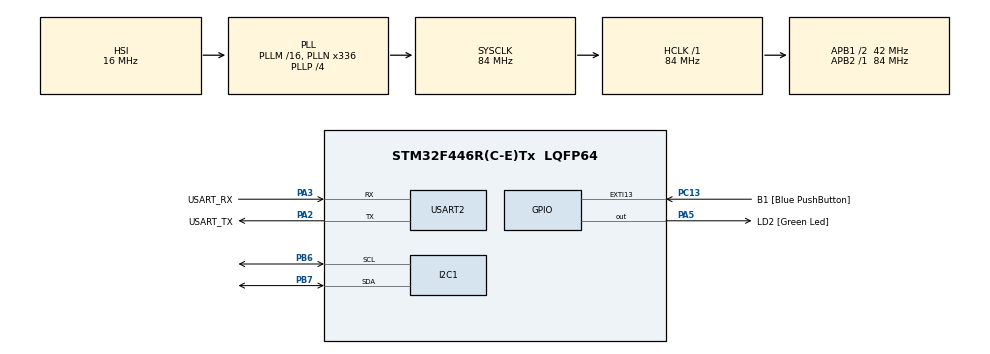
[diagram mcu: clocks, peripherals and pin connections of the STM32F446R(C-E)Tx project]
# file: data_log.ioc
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I2C1.I2C_Mode=I2C_Fast
Mcu.Family=STM32F4
Mcu.Name=STM32F446R(C-E)Tx
Mcu.Package=LQFP64
NVIC.PriorityGroup=NVIC_PRIORITYGROUP_0
PA13.GPIO_Label=TMS
PA13.Mode=Serial_Wire
PA13.Signal=SYS_JTMS-SWDIO
PA14.GPIO_Label=TCK
PA14.Mode=Serial_Wire
PA14.Signal=SYS_JTCK-SWCLK
PA2.GPIO_Label=USART_TX
PA2.Mode=Asynchronous
PA2.Signal=USART2_TX
PA3.GPIO_Label=USART_RX
PA3.Mode=Asynchronous
PA3.Signal=USART2_RX
PA5.GPIO_Label=LD2 [Green Led]
PA5.Signal=GPIO_Output
PB6.Mode=I2C
PB6.Signal=I2C1_SCL
PB7.Mode=I2C
PB7.Signal=I2C1_SDA
PC13.GPIO_Label=B1 [Blue PushButton]
PC13.GPIO_ModeDefaultEXTI=GPIO_MODE_IT_FALLING
PC13.Signal=GPXTI13
PC14-OSC32_IN.Mode=LSE-External-Oscillator
PC14-OSC32_IN.Signal=RCC_OSC32_IN
PC15-OSC32_OUT.Mode=LSE-External-Oscillator
PC15-OSC32_OUT.Signal=RCC_OSC32_OUT
PH0-OSC_IN.Mode=HSE-External-Oscillator
PH0-OSC_IN.Signal=RCC_OSC_IN
PH1-OSC_OUT.Mode=HSE-External-Oscillator
PH1-OSC_OUT.Signal=RCC_OSC_OUT
ProjectManager.HeapSize=0x200
ProjectManager.StackSize=0x400
ProjectManager.TargetToolchain=STM32CubeIDE
RCC.48MHZClocksFreq_Value=84000000
RCC.AHBFreq_Value=84000000
RCC.APB1CLKDivider=RCC_HCLK_DIV2
RCC.APB1Freq_Value=42000000
RCC.APB1TimFreq_Value=84000000
RCC.APB2Freq_Value=84000000
RCC.APB2TimFreq_Value=84000000
RCC.CortexFreq_Value=84000000
RCC.FLatency-AdvancedSettings=FLASH_LATENCY_2
RCC.HCLKFreq_Value=84000000
RCC.HSE_VALUE=8000000
RCC.HSI_VALUE=16000000
RCC.PLLN=336
RCC.PLLP=RCC_PLLP_DIV4
RCC.SYSCLKFreq_VALUE=84000000
RCC.SYSCLKSource=RCC_SYSCLKSOURCE_PLLCLK
RCC.USBFreq_Value=168000000
RCC.VCOOutputFreq_Value=336000000
USART2.VirtualMode=VM_ASYNC
board=NUCLEO-F446RE

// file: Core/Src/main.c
/* USER CODE BEGIN Header */
/**
  ******************************************************************************
  * @file           : main.c
  * @brief          : Main program body
  ******************************************************************************
  * @attention
  *
  * Copyright (c) 2025 STMicroelectronics.
  * All rights reserved.
  *
  * This software is licensed under terms that can be found in the LICENSE file
  * in the root directory of this software component.
  * If no LICENSE file comes with this software, it is provided AS-IS.
  *
  ******************************************************************************
  */
/* USER CODE END Header */

#include "main.h"
#include "i2c.h"
#include "usart.h"
#include "gpio.h"

/* USER CODE BEGIN Includes */
#include "ina228.h"
#include <stdio.h>
#include <stdlib.h>
#include <string.h>
/* USER CODE END Includes */

/* USER CODE BEGIN PD */
#define RX_BUF_SIZE    64

#define INA228_ADDR         0x40    // 7-bit I2C address (0x40..0x4F)
#define INA228_SHUNT_OHMS   0.015f  // Shunt resistor value (Ohms)
#define INA228_MAX_AMPS     1.0f    // Max expected current (A)
/* USER CODE END PD */

/* USER CODE BEGIN PV */
static ina228_t ina;

static char rxBuf[RX_BUF_SIZE];
static int  rxIndex;

static int total_time = 0;   // seconds
/* USER CODE END PV */

void SystemClock_Config(void);

/* USER CODE BEGIN PFP */
ina228_t ina228_stm32_make(uint8_t addr_7bit, float shunt_ohms, float max_amps);

static void UART_ReceiveLine(void);
static int  Parse_Command(void);
static void Stream_Data(void);
/* USER CODE END PFP */

/* USER CODE BEGIN 0 */

/**
  * @brief  Reads incoming data from the PC one byte at a time until it
  *         receives a newline character '\n'.
  * @retval None
  */
static void UART_ReceiveLine(void)
{
  rxIndex = 0;
  memset(rxBuf, 0, sizeof(rxBuf));

  while (1) {
    uint8_t byte;
    HAL_UART_Receive(&huart2, &byte, 1, HAL_MAX_DELAY);

    if (byte == '\n')
      break;

    if (rxIndex < RX_BUF_SIZE - 1)
      rxBuf[rxIndex++] = (char)byte;
  }
}

/**
  * @brief  Checks if the received line is a valid START command and
  *         extracts the requested duration into total_time.
  * @retval 1 if a valid START command was parsed, 0 otherwise
  */
static int Parse_Command(void)
{
  if (strncmp(rxBuf, "START", 5) != 0)
    return 0;

  char *tok = strtok(rxBuf, ",");   // "START"
  tok = strtok(NULL, ",");          // total_time
  if (!tok) return 0;
  total_time = atoi(tok);

  if (total_time <= 0)
    return 0;

  return 1;
}

/**
  * @brief  Streams timestamped samples to the PC as they are acquired, for
  *         total_time seconds. Each line is:
  *         <ms_since_start>,<voltage>,<current>,<power>.
  *         Sampling runs as fast as the INA228 produces conversions.
  * @retval None
  */
static void Stream_Data(void)
{
  uint8_t healthy = 0;
  ina228_is_healthy(&ina, &healthy);

  if (!healthy) {
    const char fault[] = "FAULT_SENSOR_COMM\n";
    HAL_UART_Transmit(&huart2, (uint8_t*)fault, sizeof(fault)-1, HAL_MAX_DELAY);
    return;
  }

  char line[64];
  uint32_t t0 = HAL_GetTick(); // start time (ms)

  while ((HAL_GetTick() - t0) < (uint32_t)total_time * 1000u) {
    // Wait for a fresh measurement
    uint8_t ready = 0;
    if (ina228_conversion_ready(&ina, &ready) != INA228_OK) {
      const char fault[] = "FAULT_SENSOR_COMM\n";
      HAL_UART_Transmit(&huart2, (uint8_t*)fault, sizeof(fault)-1, HAL_MAX_DELAY);
      return;
    }
    if (!ready)
      continue;

    // Read and store sensor measurements
    float v = 0.0f, c = 0.0f, p = 0.0f;
    ina228_read_voltage(&ina, &v);
    ina228_read_current(&ina, &c);
    ina228_read_power  (&ina, &p);

    uint32_t ts = HAL_GetTick() - t0;   // time since start (ms)

    // Format sensor data for UART Tx
    int len = snprintf(line, sizeof(line),
                       "%lu,%.6f,%.6f,%.6f\n",
                       (unsigned long)ts, v, c, p);
    HAL_UART_Transmit(&huart2, (uint8_t*)line, len, HAL_MAX_DELAY);
  }

  const char done[] = "DONE\n";
  HAL_UART_Transmit(&huart2, (uint8_t*)done, sizeof(done)-1, HAL_MAX_DELAY);
}
/* USER CODE END 0 */

int main(void)
{

  /* MCU Configuration--------------------------------------------------------*/

  /* Reset of all peripherals, initializes the Flash interface and the Systick. */
  HAL_Init();

  /* Configure the system clock */
  SystemClock_Config();

  /* Initialize all configured peripherals */
  MX_GPIO_Init();
  MX_I2C1_Init();
  MX_USART2_UART_Init();

  /* USER CODE BEGIN 2 */
  ina = ina228_stm32_make(INA228_ADDR, INA228_SHUNT_OHMS, INA228_MAX_AMPS);
  if (ina228_init(&ina) != INA228_OK) {
    const char *msg = "INA228 INIT FAILED\n";
    HAL_UART_Transmit(&huart2, (uint8_t*)msg, strlen(msg), HAL_MAX_DELAY);
  }
  /* USER CODE END 2 */

  /* Infinite loop */
  while (1)
  {

    /* USER CODE BEGIN 3 */
    UART_ReceiveLine();

    if (Parse_Command()) {
      const char ok[] = "OK\n";
      HAL_UART_Transmit(&huart2, (uint8_t*)ok, sizeof(ok)-1, HAL_MAX_DELAY);
      Stream_Data();
    }
    else {
      const char err[] = "ERR\n";
      HAL_UART_Transmit(&huart2, (uint8_t*)err, sizeof(err)-1, HAL_MAX_DELAY);
    }
  }
  /* USER CODE END 3 */
}

void SystemClock_Config(void)
{
  RCC_OscInitTypeDef RCC_OscInitStruct = {0};
  RCC_ClkInitTypeDef RCC_ClkInitStruct = {0};

  /** Configure the main internal regulator output voltage
  */
  __HAL_RCC_PWR_CLK_ENABLE();
  __HAL_PWR_VOLTAGESCALING_CONFIG(PWR_REGULATOR_VOLTAGE_SCALE3);

  /** Initializes the RCC Oscillators according to the specified parameters
  * in the RCC_OscInitTypeDef structure.
  */
  RCC_OscInitStruct.OscillatorType = RCC_OSCILLATORTYPE_HSI;
  RCC_OscInitStruct.HSIState = RCC_HSI_ON;
  RCC_OscInitStruct.HSICalibrationValue = RCC_HSICALIBRATION_DEFAULT;
  RCC_OscInitStruct.PLL.PLLState = RCC_PLL_ON;
  RCC_OscInitStruct.PLL.PLLSource = RCC_PLLSOURCE_HSI;
  RCC_OscInitStruct.PLL.PLLM = 16;
  RCC_OscInitStruct.PLL.PLLN = 336;
  RCC_OscInitStruct.PLL.PLLP = RCC_PLLP_DIV4;
  RCC_OscInitStruct.PLL.PLLQ = 2;
  RCC_OscInitStruct.PLL.PLLR = 2;
  if (HAL_RCC_OscConfig(&RCC_OscInitStruct) != HAL_OK)
  {
    Error_Handler();
  }

  /** Initializes the CPU, AHB and APB buses clocks
  */
  RCC_ClkInitStruct.ClockType = RCC_CLOCKTYPE_HCLK|RCC_CLOCKTYPE_SYSCLK
                              |RCC_CLOCKTYPE_PCLK1|RCC_CLOCKTYPE_PCLK2;
  RCC_ClkInitStruct.SYSCLKSource = RCC_SYSCLKSOURCE_PLLCLK;
  RCC_ClkInitStruct.AHBCLKDivider = RCC_SYSCLK_DIV1;
  RCC_ClkInitStruct.APB1CLKDivider = RCC_HCLK_DIV2;
  RCC_ClkInitStruct.APB2CLKDivider = RCC_HCLK_DIV1;

  if (HAL_RCC_ClockConfig(&RCC_ClkInitStruct, FLASH_LATENCY_2) != HAL_OK)
  {
    Error_Handler();
  }
}

void Error_Handler(void)
{
  __disable_irq();
  while (1)
  {
  }
}
